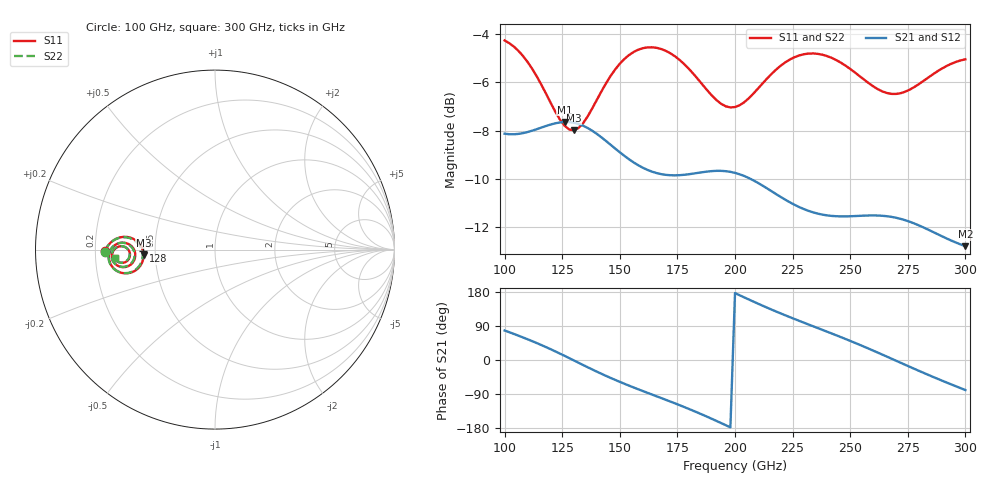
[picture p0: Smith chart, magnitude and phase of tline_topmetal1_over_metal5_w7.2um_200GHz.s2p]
#  GHZ S DB R 50
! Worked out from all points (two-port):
!   101 points, 100 GHz to 300 GHz, reference 50 ohm
!   highest |S21| = -7.64 dB at 126 GHz (marker M1); lowest = -12.8 dB at 300 GHz (marker M2)
!   |S21| within 3 dB of the highest: start of sweep to 218 GHz
!   lowest |S11| = -8.0 dB at 130 GHz (marker M3), VSWR 2.33, Z = 21.5 - j1.54 ohm
!   |S11| at or under -10 dB: nowhere
!   |S22| runs from -7.9 to -4.2 dB; largest |S21 - S12| = 5.8e-14
!   S11 on the Smith chart (normalised r, x): 100 GHz: 0.24, -0.01; 128 GHz: 0.43, -0.01; 300 GHz: 0.28, -0.04
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100  -4.26 -179.1  -8.12 77.9  -8.12 77.9  -4.23 -178.9
114  -5.75 172.1  -7.94 44.6  -7.94 44.6  -5.70 172.4
126  -7.79 178.3  -7.64 11.1  -7.64 11.1  -7.69 178.5
128  -7.95 -178.8  -7.64 5.1  -7.64 5.1  -7.84 -178.6
130  -7.98 -175.7  -7.67 -0.9  -7.67 -0.9  -7.88 -175.6
134  -7.70 -169.9  -7.79 -13.0  -7.79 -13.0  -7.60 -170.1
142  -6.37 -164.7  -8.27 -36.3  -8.27 -36.3  -6.31 -165.0
150  -5.23 -166.8  -8.89 -57.7  -8.89 -57.7  -5.18 -167.0
160  -4.58 -173.1  -9.53 -81.9  -9.53 -81.9  -4.55 -173.1
168  -4.62 -178.4  -9.80 -100.5  -9.80 -100.5  -4.58 -178.4
184  -5.87 175.7  -9.75 -139.4  -9.75 -139.4  -5.82 175.8
192  -6.74 178.3  -9.66 -160.9  -9.66 -160.9  -6.67 178.3
200  -7.02 -175.3  -9.75 176.6  -9.75 176.6  -6.94 -175.4
208  -6.46 -170.0  -10.06 154.1  -10.06 154.1  -6.39 -170.2
216  -5.63 -169.2  -10.52 132.7  -10.52 132.7  -5.58 -169.5
224  -5.04 -171.6  -10.98 112.6  -10.98 112.6  -5.00 -171.8
234  -4.80 -176.3  -11.39 88.8  -11.39 88.8  -4.77 -176.4
250  -5.44 178.2  -11.55 50.4  -11.55 50.4  -5.41 178.1
260  -6.16 179.0  -11.51 24.8  -11.51 24.8  -6.13 178.9
268  -6.47 -177.4  -11.57 3.3  -11.57 3.3  -6.44 -177.5
284  -5.79 -171.9  -12.11 -39.5  -12.11 -39.5  -5.76 -172.0
300  -5.04 -174.9  -12.79 -79.3  -12.79 -79.3  -5.02 -175.1
